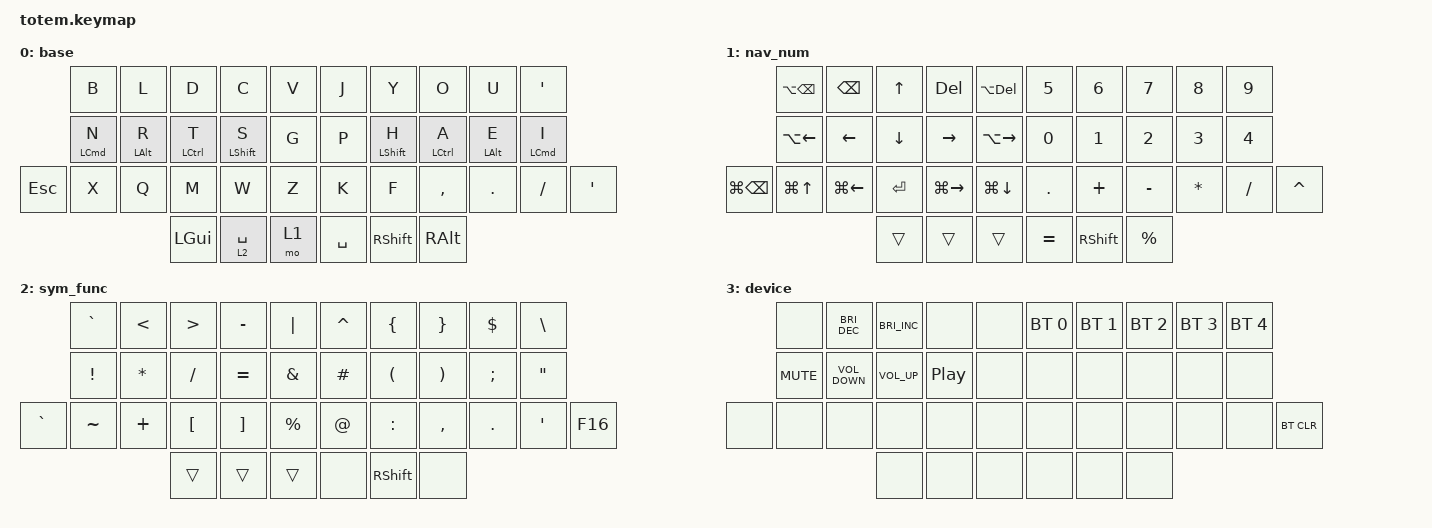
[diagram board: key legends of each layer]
//
//                                                        ▀▀▀▀▀     ▀▀▀▀▀          ▀▀█▀▀
//                                                        ▄▀▀▀▄  ▄  ▄▀▀▀▄  ▄  ▄▀▀▀▄  █  ▄▀▀▀▄
//                                                        █   █  █  █   █  █  █   █  █  █   █
//                                                         ▀▀▀   █   ▀▀▀   █   ▀▀▀   ▀   ▀▀▀
//                                                               █      ▄▄▄█▄▄▄    █   █  
//                                                               ▀      █  █  █     █▄█
//                                                             ▀▀▀▀▀    █  █  █      ▀
//                                                                      ▀  ▀  ▀
//
// ▄▄▄▄▄▄▄▄▄▄▄▄▄▄▄▄▄▄▄▄▄▄▄▄▄▄▄▄▄▄▄▄▄▄▄▄▄▄▄▄▄▄▄▄▄▄▄▄▄▄▄▄▄▄▄▄▄▄▄▄▄▄▄▄▄▄▄▄▄▄▄▄▄▄▄▄▄▄▄▄▄▄▄▄▄▄▄▄▄▄▄▄▄▄▄▄▄▄▄▄▄▄▄▄▄▄▄▄▄▄▄▄▄▄▄▄▄▄▄▄▄▄▄▄▄▄▄▄▄▄▄▄▄▄▄▄▄▄▄▄▄▄▄▄▄▄▄▄▄

#include <behaviors.dtsi>
#include <dt-bindings/zmk/bt.h>
#include <dt-bindings/zmk/keys.h>

/ {
    behaviors {
        hml: hml {
            compatible = "zmk,behavior-hold-tap";
            label = "HML";
            bindings = <&kp>, <&kp>;

            #binding-cells = <2>;
            tapping-term-ms = <280>;
            quick-tap-ms = <175>;
            require-prior-idle-ms = <150>;
            flavor = "balanced";
            hold-trigger-on-release;
            hold-trigger-key-positions = <5 15 26 35 36 5 6 7 8 9 15 16 17 18 19 26 27 28 29 30 31 35 36 37 5 6 7 8 9 15 16 17 18 19 26 27 28 29 30 31 35 36 37>;
        };

        hmr: hmr {
            compatible = "zmk,behavior-hold-tap";
            label = "HMR";
            bindings = <&kp>, <&kp>;

            #binding-cells = <2>;
            tapping-term-ms = <280>;
            quick-tap-ms = <175>;
            require-prior-idle-ms = <150>;
            hold-trigger-on-release;
            hold-trigger-key-positions = <0 1 2 3 4 10 11 12 13 14 20 21 22 23 24 25 32 33 34>;
        };
    };

    keymap {
        compatible = "zmk,keymap";

        base {
            bindings = <
         &kp B        &kp L            &kp D         &kp C              &kp V    &kp J      &kp Y              &kp O          &kp U            &kp SQT
         &hml LCMD N  &hml LEFT_ALT R  &hml LCTRL T  &hml LEFT_SHIFT S  &kp G    &kp P      &hmr LEFT_SHIFT H  &hmr LCTRL A   &hmr LEFT_ALT E  &hmr LCMD I
&kp ESC  &kp X        &kp Q            &kp M         &kp W              &kp Z    &kp K      &kp F              &kp COMMA      &kp PERIOD       &kp SLASH    &kp APOS
                                       &kp LGUI      &lt 2 SPACE        &mo 1    &kp SPACE  &kp RIGHT_SHIFT    &kp RIGHT_ALT
            >;
        };

        nav_num {
            bindings = <
                   &kp LA(BACKSPACE)   &kp BACKSPACE  &kp UP     &kp DELETE     &kp LA(DELETE)        &kp N5      &kp N6           &kp N7       &kp N8    &kp N9
                   &kp LA(LEFT_ARROW)  &kp LEFT       &kp DOWN   &kp RIGHT      &kp LA(RIGHT)         &kp N0      &kp N1           &kp N2       &kp N3    &kp N4
&kp LG(BACKSPACE)  &kp LG(UP_ARROW)    &kp LG(LEFT)   &kp ENTER  &kp LG(RIGHT)  &kp LG(DOWN_ARROW)    &kp PERIOD  &kp PLUS         &kp MINUS    &kp STAR  &kp FSLH  &kp CARET
                                                      &trans     &trans         &trans                &kp EQUAL   &kp RIGHT_SHIFT  &kp PERCENT
            >;
        };

        sym_func {
            bindings = <
           &kp GRAVE        &kp LESS_THAN  &kp GREATER_THAN  &kp MINUS          &kp PIPE         &kp CARET    &kp LEFT_BRACE        &kp RIGHT_BRACE        &kp DOLLAR     &kp BACKSLASH
           &kp EXCLAMATION  &kp ASTERISK   &kp SLASH         &kp EQUAL          &kp AMPERSAND    &kp HASH     &kp LEFT_PARENTHESIS  &kp RIGHT_PARENTHESIS  &kp SEMICOLON  &kp DOUBLE_QUOTES
&kp GRAVE  &kp TILDE        &kp PLUS       &kp LEFT_BRACKET  &kp RIGHT_BRACKET  &kp PERCENT      &kp AT_SIGN  &kp COLON             &kp COMMA              &kp PERIOD     &kp SQT            &kp F16
                                           &trans            &trans             &trans           &none        &kp RIGHT_SHIFT       &none
            >;
        };

        device {
            bindings = <
       &none       &kp C_BRIGHTNESS_DEC  &kp C_BRIGHTNESS_INC  &none             &none    &bt BT_SEL 0  &bt BT_SEL 1  &bt BT_SEL 2  &bt BT_SEL 3  &bt BT_SEL 4
       &kp K_MUTE  &kp C_VOLUME_DOWN     &kp C_VOLUME_UP       &kp C_PLAY_PAUSE  &none    &none         &none         &none         &none         &none
&none  &none       &none                 &none                 &none             &none    &none         &none         &none         &none         &none         &bt BT_CLR
                                         &none                 &none             &none    &none         &none         &none
            >;
        };
    };

    conditional_layers {
        compatible = "zmk,conditional-layers";

        device {
            if-layers = <1 2>;
            then-layer = <3>;
        };
    };
};
